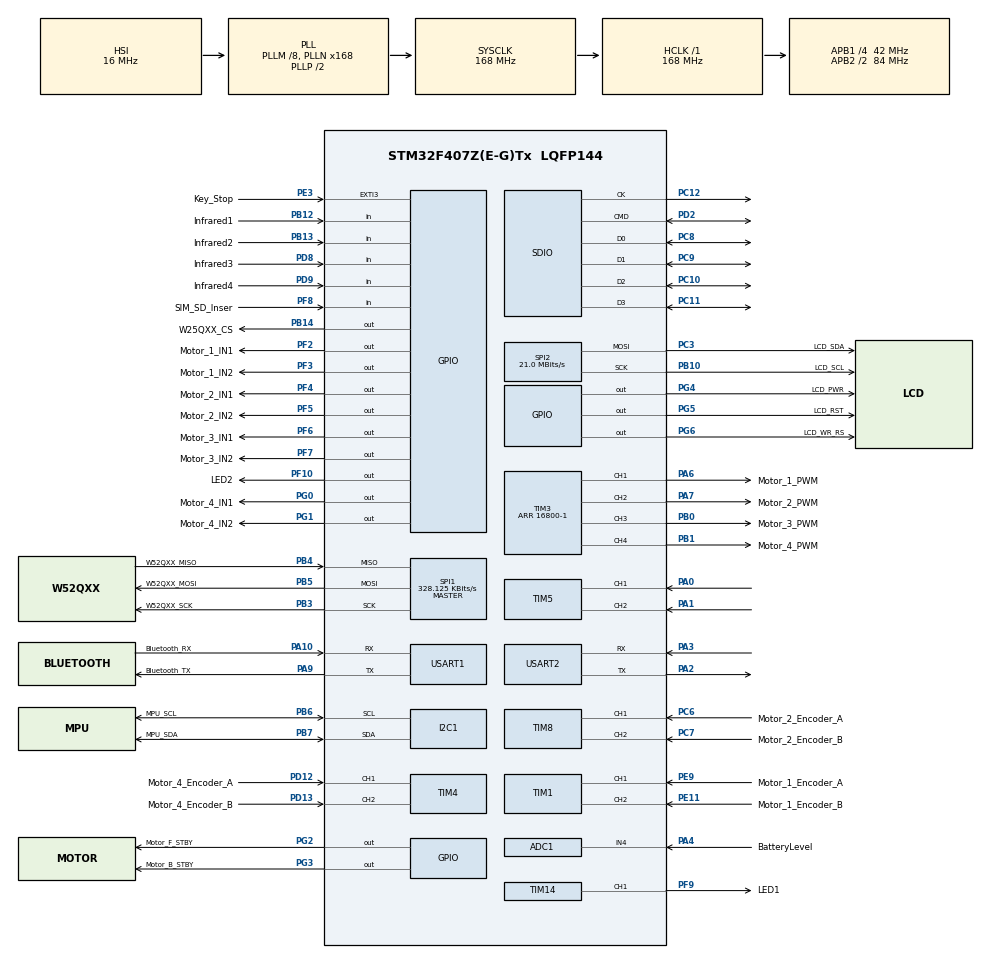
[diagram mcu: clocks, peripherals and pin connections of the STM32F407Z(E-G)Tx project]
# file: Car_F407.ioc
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ADC1.Channel-1\#ChannelRegularConversion=ADC_CHANNEL_4
ADC1.NbrOfConversionFlag=1
ADC1.Rank-1\#ChannelRegularConversion=1
ADC1.SamplingTime-1\#ChannelRegularConversion=ADC_SAMPLETIME_15CYCLES
ADC1.master=1
Dma.Request0=SDIO_RX
Dma.Request1=SDIO_TX
Dma.Request2=SPI2_TX
Dma.SDIO_RX.0.Direction=DMA_PERIPH_TO_MEMORY
Dma.SDIO_RX.0.FIFOMode=DMA_FIFOMODE_ENABLE
Dma.SDIO_RX.0.FIFOThreshold=DMA_FIFO_THRESHOLD_FULL
Dma.SDIO_RX.0.Instance=DMA2_Stream3
Dma.SDIO_RX.0.MemBurst=DMA_MBURST_INC4
Dma.SDIO_RX.0.MemDataAlignment=DMA_MDATAALIGN_HALFWORD
Dma.SDIO_RX.0.MemInc=DMA_MINC_ENABLE
Dma.SDIO_RX.0.Mode=DMA_PFCTRL
Dma.SDIO_RX.0.PeriphBurst=DMA_PBURST_INC4
Dma.SDIO_RX.0.PeriphDataAlignment=DMA_PDATAALIGN_WORD
Dma.SDIO_RX.0.PeriphInc=DMA_PINC_DISABLE
Dma.SDIO_RX.0.Priority=DMA_PRIORITY_LOW
Dma.SDIO_TX.1.Direction=DMA_MEMORY_TO_PERIPH
Dma.SDIO_TX.1.FIFOMode=DMA_FIFOMODE_ENABLE
Dma.SDIO_TX.1.FIFOThreshold=DMA_FIFO_THRESHOLD_FULL
Dma.SDIO_TX.1.Instance=DMA2_Stream6
Dma.SDIO_TX.1.MemBurst=DMA_MBURST_INC4
Dma.SDIO_TX.1.MemDataAlignment=DMA_MDATAALIGN_HALFWORD
Dma.SDIO_TX.1.MemInc=DMA_MINC_ENABLE
Dma.SDIO_TX.1.Mode=DMA_PFCTRL
Dma.SDIO_TX.1.PeriphBurst=DMA_PBURST_INC4
Dma.SDIO_TX.1.PeriphDataAlignment=DMA_PDATAALIGN_WORD
Dma.SDIO_TX.1.PeriphInc=DMA_PINC_DISABLE
Dma.SDIO_TX.1.Priority=DMA_PRIORITY_LOW
Dma.SPI2_TX.2.Direction=DMA_MEMORY_TO_PERIPH
Dma.SPI2_TX.2.FIFOMode=DMA_FIFOMODE_DISABLE
Dma.SPI2_TX.2.Instance=DMA1_Stream4
Dma.SPI2_TX.2.MemDataAlignment=DMA_MDATAALIGN_BYTE
Dma.SPI2_TX.2.MemInc=DMA_MINC_ENABLE
Dma.SPI2_TX.2.Mode=DMA_NORMAL
Dma.SPI2_TX.2.PeriphDataAlignment=DMA_PDATAALIGN_BYTE
Dma.SPI2_TX.2.PeriphInc=DMA_PINC_DISABLE
Dma.SPI2_TX.2.Priority=DMA_PRIORITY_LOW
FATFS.BSP.number=1
FATFS.USE_DMA_CODE_SD=1
FATFS._CODE_PAGE=437
FATFS._FS_LOCK=0
FATFS._FS_MINIMIZE=2
FATFS._FS_READONLY=1
FATFS._MAX_LFN=64
FATFS._USE_LFN=2
FATFS0.BSP.STBoard=false
FATFS0.BSP.api=Unknown
FATFS0.BSP.instance=PF8
FATFS0.BSP.ip=GPIO
FATFS0.BSP.mode=Input
FATFS0.BSP.name=Detect_SDIO
FATFS0.BSP.solution=PF8
I2C1.I2C_Mode=I2C_Fast
Mcu.Family=STM32F4
Mcu.Name=STM32F407Z(E-G)Tx
Mcu.Package=LQFP144
NVIC.DMA1_Stream4_IRQn=true\:14\:0\:true\:false\:true\:false\:true\:true
NVIC.DMA2_Stream3_IRQn=true\:14\:0\:true\:false\:true\:false\:true\:true
NVIC.DMA2_Stream6_IRQn=true\:14\:0\:true\:false\:true\:false\:true\:true
NVIC.EXTI3_IRQn=true\:2\:0\:true\:false\:true\:true\:true\:true
NVIC.PriorityGroup=NVIC_PRIORITYGROUP_4
NVIC.SDIO_IRQn=true\:13\:0\:true\:false\:true\:true\:true\:true
NVIC.TIM1_TRG_COM_TIM11_IRQn=true\:3\:0\:true\:false\:true\:true\:true\:true
NVIC.TIM6_DAC_IRQn=true\:2\:0\:true\:false\:true\:true\:true\:true
NVIC.TIM7_IRQn=true\:15\:0\:true\:false\:true\:true\:true\:true
NVIC.TIM8_TRG_COM_TIM14_IRQn=true\:2\:0\:true\:false\:true\:true\:true\:true
NVIC.TIM8_UP_TIM13_IRQn=true\:2\:0\:true\:false\:true\:true\:true\:true
NVIC.USART1_IRQn=true\:1\:0\:true\:false\:true\:true\:true\:true
PA0-WKUP.Signal=S_TIM5_CH1
PA1.Signal=S_TIM5_CH2
PA10.GPIO_Label=Bluetooth_RX
PA10.Mode=Asynchronous
PA10.Signal=USART1_RX
PA2.Mode=Asynchronous
PA2.Signal=USART2_TX
PA3.Mode=Asynchronous
PA3.Signal=USART2_RX
PA4.GPIO_Label=BatteryLevel
PA4.Signal=ADCx_IN4
PA6.GPIO_Label=Motor_1_PWM
PA6.Signal=S_TIM3_CH1
PA7.GPIO_Label=Motor_2_PWM
PA7.Signal=S_TIM3_CH2
PA9.GPIO_Label=Bluetooth_TX
PA9.Mode=Asynchronous
PA9.Signal=USART1_TX
PB0.GPIO_Label=Motor_3_PWM
PB0.Signal=S_TIM3_CH3
PB1.GPIO_Label=Motor_4_PWM
PB1.Signal=S_TIM3_CH4
PB10.GPIO_Label=LCD_SCL
PB10.Mode=TX_Only_Simplex_Unidirect_Master
PB10.Signal=SPI2_SCK
PB12.GPIO_Label=Infrared1
PB12.GPIO_Mode=GPIO_MODE_INPUT
PB12.GPIO_PuPd=GPIO_PULLUP
PB12.Signal=GPIO_Input
PB13.GPIO_Label=Infrared2
PB13.GPIO_Mode=GPIO_MODE_INPUT
PB13.GPIO_PuPd=GPIO_PULLUP
PB13.Signal=GPIO_Input
PB14.GPIO_Label=W25QXX_CS
PB14.Signal=GPIO_Output
PB3.GPIO_Label=W52QXX_SCK
PB3.Mode=Full_Duplex_Master
PB3.Signal=SPI1_SCK
PB4.GPIO_Label=W52QXX_MISO
PB4.Mode=Full_Duplex_Master
PB4.Signal=SPI1_MISO
PB5.GPIO_Label=W52QXX_MOSI
PB5.Mode=Full_Duplex_Master
PB5.Signal=SPI1_MOSI
PB6.GPIO_Label=MPU_SCL
PB6.Mode=I2C
PB6.Signal=I2C1_SCL
PB7.GPIO_Label=MPU_SDA
PB7.Mode=I2C
PB7.Signal=I2C1_SDA
PC10.GPIO_PuPd=GPIO_PULLUP
PC10.Mode=SD_4_bits_Wide_bus
PC10.Signal=SDIO_D2
PC11.GPIO_PuPd=GPIO_PULLUP
PC11.Mode=SD_4_bits_Wide_bus
PC11.Signal=SDIO_D3
PC12.GPIO_PuPd=GPIO_PULLUP
PC12.Mode=SD_4_bits_Wide_bus
PC12.Signal=SDIO_CK
PC14-OSC32_IN.Mode=LSE-External-Clock-Source
PC14-OSC32_IN.Signal=RCC_OSC32_IN
PC15-OSC32_OUT.Mode=LSE-External-Clock-Source
PC15-OSC32_OUT.Signal=RCC_OSC32_OUT
PC3.GPIO_Label=LCD_SDA
PC3.Mode=TX_Only_Simplex_Unidirect_Master
PC3.Signal=SPI2_MOSI
PC6.GPIO_Label=Motor_2_Encoder_A
PC6.Signal=S_TIM8_CH1
PC7.GPIO_Label=Motor_2_Encoder_B
PC7.Signal=S_TIM8_CH2
PC8.GPIO_PuPd=GPIO_PULLUP
PC8.Mode=SD_4_bits_Wide_bus
PC8.Signal=SDIO_D0
PC9.GPIO_PuPd=GPIO_PULLUP
PC9.Mode=SD_4_bits_Wide_bus
PC9.Signal=SDIO_D1
PD12.GPIO_Label=Motor_4_Encoder_A
PD12.Signal=S_TIM4_CH1
PD13.GPIO_Label=Motor_4_Encoder_B
PD13.Signal=S_TIM4_CH2
PD2.GPIO_PuPd=GPIO_PULLUP
PD2.Mode=SD_4_bits_Wide_bus
PD2.Signal=SDIO_CMD
PD8.GPIO_Label=Infrared3
PD8.GPIO_PuPd=GPIO_PULLUP
PD8.Signal=GPIO_Input
PD9.GPIO_Label=Infrared4
PD9.GPIO_PuPd=GPIO_PULLUP
PD9.Signal=GPIO_Input
PE11.GPIO_Label=Motor_1_Encoder_B
PE11.Signal=S_TIM1_CH2
PE3.GPIO_Label=Key_Stop
PE3.GPIO_ModeDefaultEXTI=GPIO_MODE_IT_FALLING
PE3.GPIO_PuPd=GPIO_PULLUP
PE3.Signal=GPXTI3
PE9.GPIO_Label=Motor_1_Encoder_A
PE9.Signal=S_TIM1_CH1
PF10.GPIO_Label=LED2
PF10.Signal=GPIO_Output
PF2.GPIO_Label=Motor_1_IN1
PF2.Signal=GPIO_Output
PF3.GPIO_Label=Motor_1_IN2
PF3.Signal=GPIO_Output
PF4.GPIO_Label=Motor_2_IN1
PF4.Signal=GPIO_Output
PF5.GPIO_Label=Motor_2_IN2
PF5.Signal=GPIO_Output
PF6.GPIO_Label=Motor_3_IN1
PF6.Signal=GPIO_Output
PF7.GPIO_Label=Motor_3_IN2
PF7.Signal=GPIO_Output
PF8.GPIO_Label=SIM_SD_Inser
PF8.GPIO_PuPd=GPIO_PULLDOWN
PF8.Signal=GPIO_Input
PF9.GPIO_Label=LED1
PF9.Signal=S_TIM14_CH1
PG0.GPIO_Label=Motor_4_IN1
PG0.Signal=GPIO_Output
PG1.GPIO_Label=Motor_4_IN2
PG1.Signal=GPIO_Output
PG2.GPIO_Label=Motor_F_STBY
PG2.Signal=GPIO_Output
PG3.GPIO_Label=Motor_B_STBY
PG3.Signal=GPIO_Output
PG4.GPIO_Label=LCD_PWR
PG4.Signal=GPIO_Output
PG5.GPIO_Label=LCD_RST
PG5.Signal=GPIO_Output
PG6.GPIO_Label=LCD_WR_RS
PG6.Signal=GPIO_Output
PH0-OSC_IN.Mode=HSE-External-Oscillator
PH0-OSC_IN.Signal=RCC_OSC_IN
PH1-OSC_OUT.Mode=HSE-External-Oscillator
PH1-OSC_OUT.Signal=RCC_OSC_OUT
ProjectManager.HeapSize=0x200
ProjectManager.StackSize=0x800
ProjectManager.TargetToolchain=STM32CubeIDE
RCC.48MHZClocksFreq_Value=48000000
RCC.AHBFreq_Value=168000000
RCC.APB1CLKDivider=RCC_HCLK_DIV4
RCC.APB1Freq_Value=42000000
RCC.APB1TimFreq_Value=84000000
RCC.APB2CLKDivider=RCC_HCLK_DIV2
RCC.APB2Freq_Value=84000000
RCC.APB2TimFreq_Value=168000000
RCC.CortexFreq_Value=168000000
RCC.HCLKFreq_Value=168000000
RCC.HSE_VALUE=8000000
RCC.HSI_VALUE=16000000
RCC.LSE_VALUE=32768
RCC.PLLM=8
RCC.PLLN=168
RCC.PLLQ=7
RCC.SYSCLKFreq_VALUE=168000000
RCC.SYSCLKSource=RCC_SYSCLKSOURCE_PLLCLK
RCC.VCOOutputFreq_Value=336000000
SDIO.ClockBypass=SDIO_CLOCK_BYPASS_DISABLE
SDIO.ClockDiv=0
SDIO.ClockPowerSave=SDIO_CLOCK_POWER_SAVE_DISABLE
SDIO.HardwareFlowControl=SDIO_HARDWARE_FLOW_CONTROL_ENABLE
SH.ADCx_IN4.0=ADC1_IN4,IN4
SH.S_TIM14_CH1.0=TIM14_CH1,PWM Generation1 CH1
SH.S_TIM1_CH1.0=TIM1_CH1,Encoder_Interface
SH.S_TIM1_CH2.0=TIM1_CH2,Encoder_Interface
SH.S_TIM3_CH1.0=TIM3_CH1,PWM Generation1 CH1
SH.S_TIM3_CH2.0=TIM3_CH2,PWM Generation2 CH2
SH.S_TIM3_CH3.0=TIM3_CH3,PWM Generation3 CH3
SH.S_TIM3_CH4.0=TIM3_CH4,PWM Generation4 CH4
SH.S_TIM4_CH1.0=TIM4_CH1,Encoder_Interface
SH.S_TIM4_CH2.0=TIM4_CH2,Encoder_Interface
SH.S_TIM5_CH1.0=TIM5_CH1,Encoder_Interface
SH.S_TIM5_CH2.0=TIM5_CH2,Encoder_Interface
SH.S_TIM8_CH1.0=TIM8_CH1,Encoder_Interface
SH.S_TIM8_CH2.0=TIM8_CH2,Encoder_Interface
SPI1.BaudRatePrescaler=SPI_BAUDRATEPRESCALER_256
SPI1.CLKPhase=SPI_PHASE_2EDGE
SPI1.CLKPolarity=SPI_POLARITY_HIGH
SPI1.CalculateBaudRate=328.125 KBits/s
SPI1.Direction=SPI_DIRECTION_2LINES
SPI1.Mode=SPI_MODE_MASTER
SPI1.VirtualType=VM_MASTER
SPI2.BaudRatePrescaler=SPI_BAUDRATEPRESCALER_2
SPI2.CLKPhase=SPI_PHASE_2EDGE
SPI2.CLKPolarity=SPI_POLARITY_HIGH
SPI2.CalculateBaudRate=21.0 MBits/s
SPI2.Direction=SPI_DIRECTION_2LINES
SPI2.Mode=SPI_MODE_MASTER
SPI2.VirtualType=VM_MASTER
TIM1.EncoderMode=TIM_ENCODERMODE_TI12
TIM11.Period=2000
TIM11.Prescaler=168-1
TIM13.Period=5000-1
TIM13.Prescaler=16800-1
TIM14.Channel=TIM_CHANNEL_1
TIM14.Period=1000-1
TIM14.Prescaler=42-1
TIM14.Pulse=50
TIM3.Channel-PWM\ Generation1\ CH1=TIM_CHANNEL_1
TIM3.Channel-PWM\ Generation2\ CH2=TIM_CHANNEL_2
TIM3.Channel-PWM\ Generation3\ CH3=TIM_CHANNEL_3
TIM3.Channel-PWM\ Generation4\ CH4=TIM_CHANNEL_4
TIM3.Period=16800-1
TIM4.EncoderMode=TIM_ENCODERMODE_TI12
TIM5.EncoderMode=TIM_ENCODERMODE_TI12
TIM6.Period=1000-1
TIM6.Prescaler=168-1
TIM7.Period=10000-1
TIM7.Prescaler=16800-1
TIM8.EncoderMode=TIM_ENCODERMODE_TI12
USART1.VirtualMode=VM_ASYNC
USART2.VirtualMode=VM_ASYNC
VP_ADC1_TempSens_Input.Mode=IN-TempSens
VP_FATFS_VS_Generic.Mode=User_defined
VP_FATFS_VS_SDIO.Mode=SDIO
VP_TIM11_VS_ClockSourceINT.Mode=Enable_Timer
VP_TIM13_VS_ClockSourceINT.Mode=Enable_Timer
VP_TIM14_VS_ClockSourceINT.Mode=Enable_Timer
VP_TIM3_VS_ClockSourceINT.Mode=Internal
VP_TIM6_VS_ClockSourceINT.Mode=Enable_Timer
VP_TIM7_VS_ClockSourceINT.Mode=Enable_Timer
board=custom

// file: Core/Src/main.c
/* USER CODE BEGIN Header */
/**
 ******************************************************************************
 * @file           : main.c
 * @brief          : Main program body
 ******************************************************************************
 * @attention
 *
 * Copyright (c) 2022 STMicroelectronics.
 * All rights reserved.
 *
 * This software is licensed under terms that can be found in the LICENSE file
 * in the root directory of this software component.
 * If no LICENSE file comes with this software, it is provided AS-IS.
 *
 ******************************************************************************
 */
/* USER CODE END Header */
#include "main.h"
#include "adc.h"
#include "dma.h"
#include "fatfs.h"
#include "i2c.h"
#include "sdio.h"
#include "spi.h"
#include "tim.h"
#include "usart.h"
#include "gpio.h"

/* USER CODE BEGIN Includes */
#include <BasicInfor/map.h>
#include "LED/led.h"
#include "Screen/screen.h"
#include "Screen/bmp.h"
#include "Screen/lcd.h"
#include "Screen/image.h"
#include "Car/TB6612.h"
#include "UART/bsp_uart.h"
#include <BasicInfor/tool.h>
#include <Car/speedControl.h>
#include <Screen/oled.h>
#include "BasicInfor/dormancy.h"
#include "BasicInfor/debug.h"
#include "Flash/W25Qxx.h"
#include "FATFS/bsp_fatfs.h"
#include "BasicInfor/statusControl.h"
#include "Balance//control.h"

/* USER CODE END Includes */

/* USER CODE BEGIN PD */
#define Font_Size 24
#define Font_Size_Small 16

/* USER CODE END PD */

/* USER CODE BEGIN PV */
//打点计数 软定时器
uint32_t uwTick_OLED;
uint32_t uwTick_SendData;
uint32_t uwTick_ReceiveData;
//显示缓存
char String_Line[2000];
//数据发送缓存
uint16_t TX_String[40];

//控制速度步进
float Speed_Step = 2.5;
float Direction_Step = 2.5;

/* USER CODE END PV */

void SystemClock_Config(void);
/* USER CODE BEGIN PFP */
void OLED_Proc();
void SendData_Proc();
void ProcessReceivedData();

/* USER CODE END PFP */

int main(void)
{

	/* MCU Configuration--------------------------------------------------------*/

	/* Reset of all peripherals, Initializes the Flash interface and the Systick. */
	HAL_Init();

	/* Configure the system clock */
	SystemClock_Config();

	/* Initialize all configured peripherals */
	MX_GPIO_Init();
	MX_DMA_Init();
	MX_TIM14_Init();
	MX_TIM1_Init();
	MX_TIM3_Init();
	MX_TIM4_Init();
	MX_TIM5_Init();
	MX_ADC1_Init();
	MX_TIM6_Init();
	MX_USART1_UART_Init();
	MX_TIM7_Init();
	MX_TIM13_Init();
	MX_SPI1_Init();
	MX_SPI2_Init();
	MX_TIM8_Init();
	MX_USART2_UART_Init();
	MX_SDIO_SD_Init();
	MX_FATFS_Init();
	MX_I2C1_Init();
	MX_TIM11_Init();
	/* USER CODE BEGIN 2 */

	//初始化呼吸灯 指示运行
	HAL_TIM_Base_Start_IT(&htim14);
	HAL_TIM_PWM_Start(&htim14, TIM_CHANNEL_1);
	//清空休眠计数
	Clean_Dormancy_Count();
	//初始化文件系统
	Init_FATFS();
	//使能定时器6中断 定期更新速度
	HAL_TIM_Base_Start_IT(&htim6);
	//初始化OLED
	Screen_Init();

	//初始化串口
	Init_USART();

	//初始化小车控制系统
	InitCar();
	//初始化地图
	InitMap();
	//初始化MPU
	InitMPU();
	//定期更新偏航角
	HAL_TIM_Base_Start_IT(&htim11);

	//测试
	//SetMotorSpeed(Motor_3, 100);
	//SetCarSpeed(10, 0, 0);
	//清屏
	Screen_Clear();
	LED2_H();
	/* USER CODE END 2 */

	/* Infinite loop */
	while (1)
	{

		/* USER CODE BEGIN 3 */
		OLED_Proc();
		SendData_Proc();
	}
	/* USER CODE END 3 */
}

void SystemClock_Config(void)
{
	RCC_OscInitTypeDef RCC_OscInitStruct = { 0 };
	RCC_ClkInitTypeDef RCC_ClkInitStruct = { 0 };

	/** Configure the main internal regulator output voltage
	 */
	__HAL_RCC_PWR_CLK_ENABLE();
	__HAL_PWR_VOLTAGESCALING_CONFIG(PWR_REGULATOR_VOLTAGE_SCALE1);

	/** Initializes the RCC Oscillators according to the specified parameters
	 * in the RCC_OscInitTypeDef structure.
	 */
	RCC_OscInitStruct.OscillatorType = RCC_OSCILLATORTYPE_HSI;
	RCC_OscInitStruct.HSIState = RCC_HSI_ON;
	RCC_OscInitStruct.HSICalibrationValue = RCC_HSICALIBRATION_DEFAULT;
	RCC_OscInitStruct.PLL.PLLState = RCC_PLL_ON;
	RCC_OscInitStruct.PLL.PLLSource = RCC_PLLSOURCE_HSI;
	RCC_OscInitStruct.PLL.PLLM = 8;
	RCC_OscInitStruct.PLL.PLLN = 168;
	RCC_OscInitStruct.PLL.PLLP = RCC_PLLP_DIV2;
	RCC_OscInitStruct.PLL.PLLQ = 7;
	if (HAL_RCC_OscConfig(&RCC_OscInitStruct) != HAL_OK)
	{
		Error_Handler();
	}

	/** Initializes the CPU, AHB and APB buses clocks
	 */
	RCC_ClkInitStruct.ClockType = RCC_CLOCKTYPE_HCLK | RCC_CLOCKTYPE_SYSCLK | RCC_CLOCKTYPE_PCLK1 | RCC_CLOCKTYPE_PCLK2;
	RCC_ClkInitStruct.SYSCLKSource = RCC_SYSCLKSOURCE_PLLCLK;
	RCC_ClkInitStruct.AHBCLKDivider = RCC_SYSCLK_DIV1;
	RCC_ClkInitStruct.APB1CLKDivider = RCC_HCLK_DIV4;
	RCC_ClkInitStruct.APB2CLKDivider = RCC_HCLK_DIV2;

	if (HAL_RCC_ClockConfig(&RCC_ClkInitStruct, FLASH_LATENCY_5) != HAL_OK)
	{
		Error_Handler();
	}
}

/* USER CODE BEGIN 4 */

//显示屏
void OLED_Proc()
{
	if (uwTick - uwTick_OLED < 500)
	{
		return;
	}
	uwTick_OLED = uwTick;

	sprintf(String_Line, "A:%5.1f   B:%5.1f", Motor_Actual_Speeds[0], Motor_Actual_Speeds[1]);
	Screen_ShowStringLine(0, String_Line, Font_Size);
	sprintf(String_Line, "C:%5.1f   D: %5.1f", Motor_Actual_Speeds[2], Motor_Actual_Speeds[3]);
	Screen_ShowStringLine(1, String_Line, Font_Size);

	sprintf(String_Line, "A:%5.1f   B:%5.1f", Motor_Expected_Speeds[0], Motor_Expected_Speeds[1]);
	Screen_ShowStringLine(3, String_Line, Font_Size);
	sprintf(String_Line, "C:%5.1f   D:%5.1f", Motor_Expected_Speeds[2], Motor_Expected_Speeds[3]);
	Screen_ShowStringLine(4, String_Line, Font_Size);

	sprintf(String_Line, "Yaw:%5.1f", YawAngle);
	Screen_ShowStringLine(6, String_Line, Font_Size);

	UpdateInfraredData();
	sprintf(String_Line, "     %c %c %c %c", Infrared_Datas[Infrared_Right] ? '#' : ' ', Infrared_Datas[Infrared_Center_Right] ? '#' : ' ', Infrared_Datas[Infrared_Center_Left] ? '#' : ' ', Infrared_Datas[Infrared_Left] ? '#' : ' ');
	Screen_ShowStringLine(7, String_Line, Font_Size);

	sprintf(String_Line, "CPU: %.2f C    MPU: %.2f C  ", GetInternalTemperature(), Get_MPU_Temperature());
	Screen_ShowStringLine(13, String_Line, Font_Size_Small);
	sprintf(String_Line, "%.2f V         %d s  ", GetBatteryLevel(), (int) uwTick / 1000);
	Screen_ShowStringLine(14, String_Line, Font_Size_Small);

}

//向上位机发送当前小车数据
void SendData_Proc()
{
	if (uwTick - uwTick_SendData < 500)
	{
		return;
	}
	uwTick_SendData = uwTick;

//发送数据

	TX_String[0] = ((uint16_t) (int16_t) (Motor_Expected_Speeds[0] * 100));
	TX_String[1] = ((uint16_t) (int16_t) (Motor_Expected_Speeds[1] * 100));
	TX_String[2] = ((uint16_t) (int16_t) (Motor_Expected_Axis_Speeds[0] * 100));
	TX_String[3] = ((uint16_t) (int16_t) (Motor_Expected_Axis_Speeds[2] * 100));

	HAL_UART_Transmit(&huart1, (uint8_t*) TX_String, Motor_Number * 2, 0xFFFF);
}

//接收数据
void ProcessReceivedData()
{
	short speed = 0;
	Direction dir;
	uint8_t point = 0;
	if (RxData_Flag[UART_1] == RX_UnRead)
	{
		//清空标志位
		CleanRxData(UART_1);
		//清空休眠计数
		Clean_Dormancy_Count();

		switch (RxData[UART_1][0])
		{
			case 'A':
				switch (RxData[UART_1][1])
				{
					case '1':	//上
						AddCarSpeed(Speed_Step * 2, 0, 0);
						break;
					case '2':	//右上
						AddCarSpeed(Speed_Step, 0, -Direction_Step);
						break;
					case '3':	//右
						AddCarSpeed(0, 0, -Direction_Step * 2);
						break;
					case '4':	//右下
						AddCarSpeed(-Speed_Step, 0, -Direction_Step);

						break;
					case '5':	//下
						AddCarSpeed(-Speed_Step * 2, 0, 0);
						break;
					case '6':	//左下
						AddCarSpeed(-Speed_Step, 0, Direction_Step);
						break;
					case '7':	//左
						AddCarSpeed(0, 0, Direction_Step * 2);
						break;
					case '8':	//左上
						AddCarSpeed(Speed_Step, 0, Direction_Step);
						break;
					case '9':	//停止
						Status_Control_Clear();
						break;
					case '0':	//开始
						Status_Control_Start(Command_Mode_OneTime, 15);
						break;
				}
				break;
			case 'B':

				for (uint8_t i = 0; i < Motor_Number; i++)
				{
					speed = (RxData[UART_1][i * 3 + 2] - '0') * 10 + (RxData[UART_1][i * 3 + 3] - '0');
					if (RxData[UART_1][i * 3 + 1] == '-')
					{
						speed = -speed;
					}
					//设置速度
					//只有关闭巡线才能生效
					Set_Motor_ExpectedSpeed(i, speed);
				}

				break;
			case 'C':
				//设置起点 和 朝向
				dir = RxData[UART_1][1] - '0';
				point = RxData[UART_1][2] - '0';
				SetDefaultValue(dir, point);

				break;
			case 'D':
				//设置终点并开始寻路
				point = RxData[UART_1][1] - '0';
				StartWayFindingAndRuning(point);
				break;
			default:
				break;
		}
	}
}

//定时器中断
void HAL_TIM_PeriodElapsedCallback(TIM_HandleTypeDef *htim)
{
	if (htim->Instance == TIM14)
	{
		//更新呼吸灯 PWM占空比
		Periodic_Update_BreathingLights();
		//接收上位机数据
		ProcessReceivedData();
	}
	else if (htim->Instance == TIM6)
	{
		//每1ms

		//系统控制小车
		Periodic_Status_Control();
		//更新实际值
		//Periodic_Update_Car_ActualSpeed();
		//更新理论值
		//Periodic_UpdateAndSet_Car_ExpectedSpeed();
		if (Is_Car_Runing() == 1)
		{
			//清空休眠计数
			Clean_Dormancy_Count();
		}
	}
	else if (htim->Instance == TIM7)
	{
		//每1s

		//休眠
		Periodic_Dormancy_Counter();
	}
	else if (htim->Instance == TIM11)
	{
		//20ms
		//更新偏航角
		UpdateYawAngle();
	}
}

//外部中断 按键
void HAL_GPIO_EXTI_Callback(uint16_t GPIO_Pin)
{
//清空休眠计数
	Clean_Dormancy_Count();

	if (GPIO_Pin == Key_Stop_Pin)
	{
		//紧急制动按钮

		SetCarSpeed(0, 0, 0);
	}

}

/* USER CODE END 4 */

void Error_Handler(void)
{
	__disable_irq();
	while (1)
	{
	}
}
